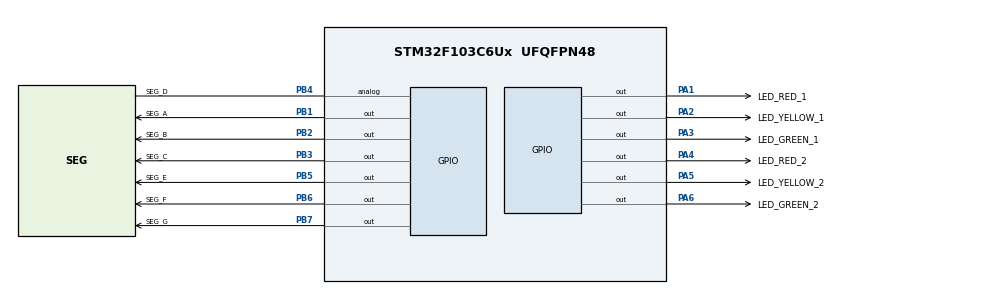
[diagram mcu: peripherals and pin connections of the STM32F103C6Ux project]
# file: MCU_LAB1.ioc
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Mcu.Family=STM32F1
Mcu.Name=STM32F103C6Ux
Mcu.Package=UFQFPN48
NVIC.PriorityGroup=NVIC_PRIORITYGROUP_4
PA1.GPIO_Label=LED_RED_1
PA1.Signal=GPIO_Output
PA2.GPIO_Label=LED_YELLOW_1
PA2.Signal=GPIO_Output
PA3.GPIO_Label=LED_GREEN_1
PA3.Signal=GPIO_Output
PA4.GPIO_Label=LED_RED_2
PA4.Signal=GPIO_Output
PA5.GPIO_Label=LED_YELLOW_2
PA5.Signal=GPIO_Output
PA6.GPIO_Label=LED_GREEN_2
PA6.Signal=GPIO_Output
PB1.GPIO_Label=SEG_A
PB1.Signal=GPIO_Output
PB2.GPIO_Label=SEG_B
PB2.Signal=GPIO_Output
PB3.GPIO_Label=SEG_C
PB3.Signal=GPIO_Output
PB4.GPIO_Label=SEG_D
PB4.Signal=GPIO_Analog
PB5.GPIO_Label=SEG_E
PB5.Signal=GPIO_Output
PB6.GPIO_Label=SEG_F
PB6.Signal=GPIO_Output
PB7.GPIO_Label=SEG_G
PB7.Signal=GPIO_Output
ProjectManager.HeapSize=0x200
ProjectManager.StackSize=0x400
ProjectManager.TargetToolchain=STM32CubeIDE
RCC.APB1Freq_Value=8000000
RCC.APB2Freq_Value=8000000
VP_SYS_VS_ND.Mode=No_Debug
board=custom

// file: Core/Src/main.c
/* USER CODE BEGIN Header */
/**
  ******************************************************************************
  * @file           : main.c
  * @brief          : Main program body
  ******************************************************************************
  * @attention
  *
  * <h2><center>&copy; Copyright (c) 2023 STMicroelectronics.
  * All rights reserved.</center></h2>
  *
  * This software component is licensed by ST under BSD 3-Clause license,
  * the "License"; You may not use this file except in compliance with the
  * License. You may obtain a copy of the License at:
  *                        opensource.org/licenses/BSD-3-Clause
  *
  ******************************************************************************
  */
/* USER CODE END Header */
#include "main.h"

void SystemClock_Config(void);
static void MX_GPIO_Init(void);
/* USER CODE BEGIN PFP */
void Display7Seg(int num){
	switch (num) {
	case 0:
		HAL_GPIO_WritePin(SEG_A_GPIO_Port, SEG_A_Pin, RESET);
		HAL_GPIO_WritePin(SEG_B_GPIO_Port, SEG_B_Pin, RESET);
		HAL_GPIO_WritePin(SEG_C_GPIO_Port, SEG_C_Pin, RESET);
		HAL_GPIO_WritePin(SEG_D_GPIO_Port, SEG_D_Pin, RESET);
		HAL_GPIO_WritePin(SEG_E_GPIO_Port, SEG_E_Pin, RESET);
		HAL_GPIO_WritePin(SEG_F_GPIO_Port, SEG_F_Pin, RESET);
		HAL_GPIO_WritePin(SEG_G_GPIO_Port, SEG_G_Pin, SET);
		break;
	case 1:
		HAL_GPIO_WritePin(SEG_A_GPIO_Port, SEG_A_Pin, SET);
		HAL_GPIO_WritePin(SEG_B_GPIO_Port, SEG_B_Pin, RESET);
		HAL_GPIO_WritePin(SEG_C_GPIO_Port, SEG_C_Pin, RESET);
		HAL_GPIO_WritePin(SEG_D_GPIO_Port, SEG_D_Pin, SET);
		HAL_GPIO_WritePin(SEG_E_GPIO_Port, SEG_E_Pin, SET);
		HAL_GPIO_WritePin(SEG_F_GPIO_Port, SEG_F_Pin, SET);
		HAL_GPIO_WritePin(SEG_G_GPIO_Port, SEG_G_Pin, SET);
		break;
	case 2:
		HAL_GPIO_WritePin(SEG_A_GPIO_Port, SEG_A_Pin, RESET);
		HAL_GPIO_WritePin(SEG_B_GPIO_Port, SEG_B_Pin, RESET);
		HAL_GPIO_WritePin(SEG_C_GPIO_Port, SEG_C_Pin, SET);
		HAL_GPIO_WritePin(SEG_D_GPIO_Port, SEG_D_Pin, RESET);
		HAL_GPIO_WritePin(SEG_E_GPIO_Port, SEG_E_Pin, RESET);
		HAL_GPIO_WritePin(SEG_F_GPIO_Port, SEG_F_Pin, SET);
		HAL_GPIO_WritePin(SEG_G_GPIO_Port, SEG_G_Pin, RESET);
		break;
	case 3:
		HAL_GPIO_WritePin(SEG_A_GPIO_Port, SEG_A_Pin, RESET);
		HAL_GPIO_WritePin(SEG_B_GPIO_Port, SEG_B_Pin, RESET);
		HAL_GPIO_WritePin(SEG_C_GPIO_Port, SEG_C_Pin, RESET);
		HAL_GPIO_WritePin(SEG_D_GPIO_Port, SEG_D_Pin, RESET);
		HAL_GPIO_WritePin(SEG_E_GPIO_Port, SEG_E_Pin, SET);
		HAL_GPIO_WritePin(SEG_F_GPIO_Port, SEG_F_Pin, SET);
		HAL_GPIO_WritePin(SEG_G_GPIO_Port, SEG_G_Pin, RESET);
		break;
	case 4:
		HAL_GPIO_WritePin(SEG_A_GPIO_Port, SEG_A_Pin, SET);
		HAL_GPIO_WritePin(SEG_B_GPIO_Port, SEG_B_Pin, RESET);
		HAL_GPIO_WritePin(SEG_C_GPIO_Port, SEG_C_Pin, RESET);
		HAL_GPIO_WritePin(SEG_D_GPIO_Port, SEG_D_Pin, SET);
		HAL_GPIO_WritePin(SEG_E_GPIO_Port, SEG_E_Pin, SET);
		HAL_GPIO_WritePin(SEG_F_GPIO_Port, SEG_F_Pin, RESET);
		HAL_GPIO_WritePin(SEG_G_GPIO_Port, SEG_G_Pin, RESET);
		break;
	case 5:
		HAL_GPIO_WritePin(SEG_A_GPIO_Port, SEG_A_Pin, RESET);
		HAL_GPIO_WritePin(SEG_B_GPIO_Port, SEG_B_Pin, SET);
		HAL_GPIO_WritePin(SEG_C_GPIO_Port, SEG_C_Pin, RESET);
		HAL_GPIO_WritePin(SEG_D_GPIO_Port, SEG_D_Pin, RESET);
		HAL_GPIO_WritePin(SEG_E_GPIO_Port, SEG_E_Pin, SET);
		HAL_GPIO_WritePin(SEG_F_GPIO_Port, SEG_F_Pin, RESET);
		HAL_GPIO_WritePin(SEG_G_GPIO_Port, SEG_G_Pin, RESET);
		break;
	case 6:
		HAL_GPIO_WritePin(SEG_A_GPIO_Port, SEG_A_Pin, RESET);
		HAL_GPIO_WritePin(SEG_B_GPIO_Port, SEG_B_Pin, SET);
		HAL_GPIO_WritePin(SEG_C_GPIO_Port, SEG_C_Pin, RESET);
		HAL_GPIO_WritePin(SEG_D_GPIO_Port, SEG_D_Pin, RESET);
		HAL_GPIO_WritePin(SEG_E_GPIO_Port, SEG_E_Pin, RESET);
		HAL_GPIO_WritePin(SEG_F_GPIO_Port, SEG_F_Pin, RESET);
		HAL_GPIO_WritePin(SEG_G_GPIO_Port, SEG_G_Pin, RESET);
		break;
	case 7:
		HAL_GPIO_WritePin(SEG_A_GPIO_Port, SEG_A_Pin, RESET);
		HAL_GPIO_WritePin(SEG_B_GPIO_Port, SEG_B_Pin, RESET);
		HAL_GPIO_WritePin(SEG_C_GPIO_Port, SEG_C_Pin, RESET);
		HAL_GPIO_WritePin(SEG_D_GPIO_Port, SEG_D_Pin, SET);
		HAL_GPIO_WritePin(SEG_E_GPIO_Port, SEG_E_Pin, SET);
		HAL_GPIO_WritePin(SEG_F_GPIO_Port, SEG_F_Pin, SET);
		HAL_GPIO_WritePin(SEG_G_GPIO_Port, SEG_G_Pin, SET);
		break;
	case 8:
		HAL_GPIO_WritePin(SEG_A_GPIO_Port, SEG_A_Pin, RESET);
		HAL_GPIO_WritePin(SEG_B_GPIO_Port, SEG_B_Pin, RESET);
		HAL_GPIO_WritePin(SEG_C_GPIO_Port, SEG_C_Pin, RESET);
		HAL_GPIO_WritePin(SEG_D_GPIO_Port, SEG_D_Pin, RESET);
		HAL_GPIO_WritePin(SEG_E_GPIO_Port, SEG_E_Pin, RESET);
		HAL_GPIO_WritePin(SEG_F_GPIO_Port, SEG_F_Pin, RESET);
		HAL_GPIO_WritePin(SEG_G_GPIO_Port, SEG_G_Pin, RESET);
		break;
	case 9:
		HAL_GPIO_WritePin(SEG_A_GPIO_Port, SEG_A_Pin, RESET);
		HAL_GPIO_WritePin(SEG_B_GPIO_Port, SEG_B_Pin, RESET);
		HAL_GPIO_WritePin(SEG_C_GPIO_Port, SEG_C_Pin, RESET);
		HAL_GPIO_WritePin(SEG_D_GPIO_Port, SEG_D_Pin, RESET);
		HAL_GPIO_WritePin(SEG_E_GPIO_Port, SEG_E_Pin, SET);
		HAL_GPIO_WritePin(SEG_F_GPIO_Port, SEG_F_Pin, RESET);
		HAL_GPIO_WritePin(SEG_G_GPIO_Port, SEG_G_Pin, RESET);
		break;
	default:
		break;
	}
}

typedef enum ColorState {
	red, yellow, green
} eColorState;
/* USER CODE END PFP */

int main(void)
{

  /* MCU Configuration--------------------------------------------------------*/

  /* Reset of all peripherals, Initializes the Flash interface and the Systick. */
  HAL_Init();

  /* Configure the system clock */
  SystemClock_Config();

  /* Initialize all configured peripherals */
  MX_GPIO_Init();

  /* Infinite loop */
  /* USER CODE BEGIN WHILE */
  int cnt=0;
  eColorState status = red;
    HAL_GPIO_TogglePin ( LED_RED_1_GPIO_Port , LED_RED_1_Pin ) ; //turn off all led except for green_1 and red_2
    HAL_GPIO_TogglePin ( LED_YELLOW_1_GPIO_Port , LED_YELLOW_1_Pin ) ;
    HAL_GPIO_TogglePin ( LED_GREEN_2_GPIO_Port , LED_GREEN_2_Pin ) ;
    HAL_GPIO_TogglePin ( LED_YELLOW_2_GPIO_Port , LED_YELLOW_2_Pin ) ;

    HAL_GPIO_TogglePin(SEG_A_GPIO_Port, SEG_A_Pin);
    HAL_GPIO_TogglePin(SEG_B_GPIO_Port, SEG_B_Pin);
    HAL_GPIO_TogglePin(SEG_C_GPIO_Port, SEG_C_Pin);
    HAL_GPIO_TogglePin(SEG_D_GPIO_Port, SEG_D_Pin);
    HAL_GPIO_TogglePin(SEG_E_GPIO_Port, SEG_E_Pin);
    HAL_GPIO_TogglePin(SEG_F_GPIO_Port, SEG_F_Pin);
    HAL_GPIO_TogglePin(SEG_G_GPIO_Port, SEG_G_Pin);
    int cnt1 = 2;
    int cnt2 = 5;
    int cnt3 = 3;

  while (1)
  {
    /* USER CODE END WHILE */
	  if(status == yellow) Display7Seg(cnt1--);
	  if(status == red) Display7Seg(cnt2--);
	  if(status == green) Display7Seg(cnt3--);
	  switch(cnt){
	 	  	case(3):
	 	  			HAL_GPIO_TogglePin(LED_GREEN_1_GPIO_Port, LED_GREEN_1_Pin);
	 	  			HAL_GPIO_TogglePin(LED_YELLOW_1_GPIO_Port , LED_YELLOW_1_Pin ) ;
	 	  			cnt++;
	 	  			break;
	 	  	case(5):
	 	   			HAL_GPIO_TogglePin(LED_YELLOW_1_GPIO_Port , LED_YELLOW_1_Pin ) ;
	 	  	 	 	HAL_GPIO_TogglePin ( LED_RED_1_GPIO_Port , LED_RED_1_Pin ) ;
	 	  	 	 	HAL_GPIO_TogglePin ( LED_GREEN_2_GPIO_Port , LED_GREEN_2_Pin ) ;
	 	  	 	 	HAL_GPIO_TogglePin ( LED_RED_2_GPIO_Port , LED_RED_2_Pin ) ;
	 	  	 	 	cnt++;
	 	  	 	 	status = green;
	 	  	 	 	cnt2 =5;
	 	  			break;
	 	  	case(9):
	 	  			HAL_GPIO_TogglePin ( LED_YELLOW_2_GPIO_Port , LED_YELLOW_2_Pin ) ;
	 	  			HAL_GPIO_TogglePin ( LED_GREEN_2_GPIO_Port , LED_GREEN_2_Pin ) ;
	 	  			cnt++;
	 	  			status = yellow;
	 	  			cnt3=3;
	 	  			break;
	 	  	case(12):
	 	  			HAL_GPIO_TogglePin ( LED_YELLOW_2_GPIO_Port , LED_YELLOW_2_Pin ) ;
	 	  			HAL_GPIO_TogglePin ( LED_RED_2_GPIO_Port , LED_RED_2_Pin ) ;
	 	  			HAL_GPIO_TogglePin ( LED_RED_1_GPIO_Port , LED_RED_1_Pin ) ;
	 	  			HAL_GPIO_TogglePin ( LED_GREEN_1_GPIO_Port , LED_GREEN_1_Pin ) ;
	 	  			status =red;
	 	  			cnt1 = 2;
	 	  			cnt=0;
	 	  			break;
	 	  	default:
	 	  			cnt++;
	 	  			break;
	 	  	}
	  	  HAL_Delay(1000);
  }
}

void SystemClock_Config(void)
{
  RCC_OscInitTypeDef RCC_OscInitStruct = {0};
  RCC_ClkInitTypeDef RCC_ClkInitStruct = {0};

  /** Initializes the RCC Oscillators according to the specified parameters
  * in the RCC_OscInitTypeDef structure.
  */
  RCC_OscInitStruct.OscillatorType = RCC_OSCILLATORTYPE_HSI;
  RCC_OscInitStruct.HSIState = RCC_HSI_ON;
  RCC_OscInitStruct.HSICalibrationValue = RCC_HSICALIBRATION_DEFAULT;
  RCC_OscInitStruct.PLL.PLLState = RCC_PLL_NONE;
  if (HAL_RCC_OscConfig(&RCC_OscInitStruct) != HAL_OK)
  {
    Error_Handler();
  }
  /** Initializes the CPU, AHB and APB buses clocks
  */
  RCC_ClkInitStruct.ClockType = RCC_CLOCKTYPE_HCLK|RCC_CLOCKTYPE_SYSCLK
                              |RCC_CLOCKTYPE_PCLK1|RCC_CLOCKTYPE_PCLK2;
  RCC_ClkInitStruct.SYSCLKSource = RCC_SYSCLKSOURCE_HSI;
  RCC_ClkInitStruct.AHBCLKDivider = RCC_SYSCLK_DIV1;
  RCC_ClkInitStruct.APB1CLKDivider = RCC_HCLK_DIV1;
  RCC_ClkInitStruct.APB2CLKDivider = RCC_HCLK_DIV1;

  if (HAL_RCC_ClockConfig(&RCC_ClkInitStruct, FLASH_LATENCY_0) != HAL_OK)
  {
    Error_Handler();
  }
}

static void MX_GPIO_Init(void)
{
  GPIO_InitTypeDef GPIO_InitStruct = {0};

  /* GPIO Ports Clock Enable */
  __HAL_RCC_GPIOA_CLK_ENABLE();
  __HAL_RCC_GPIOB_CLK_ENABLE();

  /*Configure GPIO pin Output Level */
  HAL_GPIO_WritePin(GPIOA, LED_RED_1_Pin|LED_YELLOW_1_Pin|LED_GREEN_1_Pin|LED_RED_2_Pin
                          |LED_YELLOW_2_Pin|LED_GREEN_2_Pin, GPIO_PIN_RESET);

  /*Configure GPIO pin Output Level */
  HAL_GPIO_WritePin(GPIOB, SEG_A_Pin|SEG_B_Pin|SEG_C_Pin|SEG_E_Pin
                          |SEG_F_Pin|SEG_G_Pin, GPIO_PIN_RESET);

  /*Configure GPIO pins : LED_RED_1_Pin LED_YELLOW_1_Pin LED_GREEN_1_Pin LED_RED_2_Pin
                           LED_YELLOW_2_Pin LED_GREEN_2_Pin */
  GPIO_InitStruct.Pin = LED_RED_1_Pin|LED_YELLOW_1_Pin|LED_GREEN_1_Pin|LED_RED_2_Pin
                          |LED_YELLOW_2_Pin|LED_GREEN_2_Pin;
  GPIO_InitStruct.Mode = GPIO_MODE_OUTPUT_PP;
  GPIO_InitStruct.Pull = GPIO_NOPULL;
  GPIO_InitStruct.Speed = GPIO_SPEED_FREQ_LOW;
  HAL_GPIO_Init(GPIOA, &GPIO_InitStruct);

  /*Configure GPIO pins : SEG_A_Pin SEG_B_Pin SEG_C_Pin SEG_E_Pin
                           SEG_F_Pin SEG_G_Pin */
  GPIO_InitStruct.Pin = SEG_A_Pin|SEG_B_Pin|SEG_C_Pin|SEG_E_Pin
                          |SEG_F_Pin|SEG_G_Pin|SEG_D_Pin;
  GPIO_InitStruct.Mode = GPIO_MODE_OUTPUT_PP;
  GPIO_InitStruct.Pull = GPIO_NOPULL;
  GPIO_InitStruct.Speed = GPIO_SPEED_FREQ_LOW;
  HAL_GPIO_Init(GPIOB, &GPIO_InitStruct);

  /*Configure GPIO pin : SEG_D_Pin */

}

void Error_Handler(void)
{
  __disable_irq();
  while (1)
  {
  }
}

/************************ (C) COPYRIGHT STMicroelectronics *****END OF FILE****/
